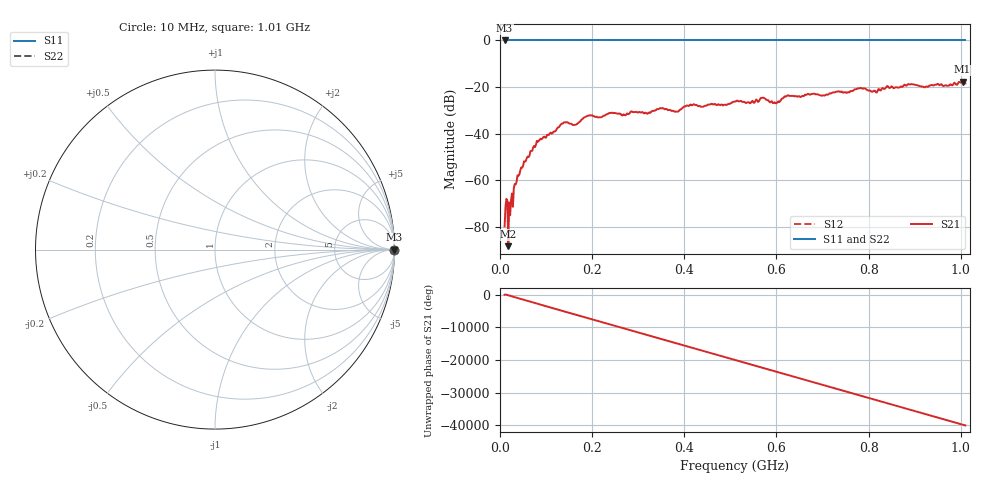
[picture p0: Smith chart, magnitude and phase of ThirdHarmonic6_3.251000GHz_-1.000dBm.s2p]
! 8/17/2025 10:00:27 AM
! C:\ANRITSUVNA\TEMP\TEMP.S2P
! CHANNEL.1
! TR.MEASUREMENT
! RAW.DATA
! RF.CORRECTION.OFF
! AVERAGING.OFF
! IF.BANDWIDTH: 5KHZ
! SWEEPTYPE:  FREQ.SWEEP(Linear)
! Reference Plane Port Info
! PORT:  PORT1  PORT2
! DISTANCE:  0  m  0  m
! TIME:  0  s  0  s
! PHASE.OFFSET:  0  deg.  0  deg.
! LOSS:  0  dB  0  dB
! REF.LOSS:  0  dB  0  dB
! REF.FREQ:  0  Hz  0  Hz
! Power Info
! POWER:  -20  dBm  -20  dBm
! EFF.POWER:  -20  dBm  -20  dBm
! SOURCE.ATTEN:  0  dB  0  dB
! TEST.ATTEN:  0  dB  0  dB
# GHZ S RI R 50.0
! FREQ.GHZ  S11RE  S11IM  S21RE  S21IM  S12RE  S12IM  S22RE  S22IM
!; PortSelection: Port_12
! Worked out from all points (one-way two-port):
!   501 points, 10 MHz to 1.01 GHz, reference 50 ohm
!   highest |S21| = -17.75 dB at 1.004 GHz (marker M1); lowest = -88.3 dB at 18 MHz (marker M2)
!   lowest |S11| = 0.0 dB at 10 MHz (marker M3)
!   |S11| at or under -10 dB: nowhere
!   |S22| runs from 0.0 to 0.0 dB; largest |S21 - S12| = 1.1
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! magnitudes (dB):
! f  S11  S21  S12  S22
! 10 MHz  0.0  -79.8  0.0  0.0
! 16 MHz  0.0  -68.9  0.0  0.0
! 18 MHz  0.0  -88.3  0.0  0.0
! 22 MHz  0.0  -75.1  0.0  0.0
! 34 MHz  0.0  -61.8  0.0  0.0
! 42 MHz  0.0  -57.5  0.0  0.0
! 84 MHz  0.0  -43.2  0.0  0.0
! 136 MHz  0.0  -35.7  0.0  0.0
! 162 MHz  0.0  -36.2  0.0  0.0
! 178 MHz  0.0  -33.9  0.0  0.0
! 344 MHz  0.0  -29.5  0.0  0.0
! 384 MHz  0.0  -30.5  0.0  0.0
! 416 MHz  0.0  -27.9  0.0  0.0
! 510 MHz  0.0  -26.2  0.0  0.0
! 570 MHz  0.0  -24.6  0.0  0.0
! 596 MHz  0.0  -26.5  0.0  0.0
! 622 MHz  0.0  -23.9  0.0  0.0
! 678 MHz  0.0  -23.0  0.0  0.0
! 814 MHz  0.0  -21.7  0.0  0.0
! 844 MHz  0.0  -20.3  0.0  0.0
! 1.004 GHz  0.0  -17.8  0.0  0.0
! 1.01 GHz  0.0  -18.5  0.0  0.0
